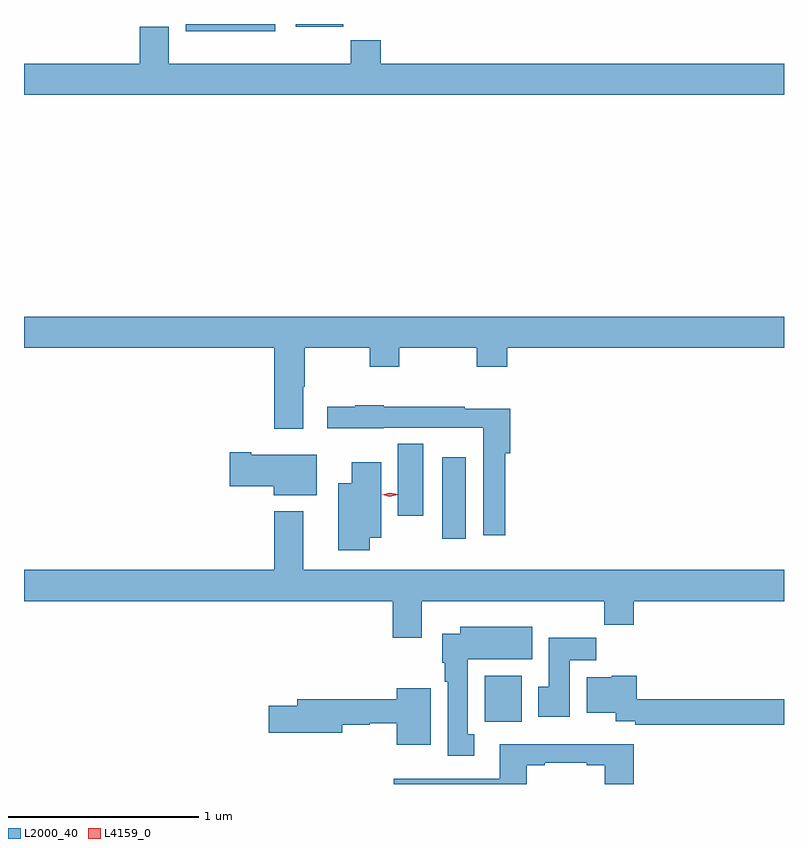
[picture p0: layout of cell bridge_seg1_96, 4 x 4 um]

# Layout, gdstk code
import gdstk
lib = gdstk.Library(unit=1e-6, precision=1e-09)
def R(c, l, rs):  # rectangles x0, y0, x1, y1
    for r in rs: c.add(gdstk.rectangle(r[:2], r[2:], *l))
def P(c, l, *ps):  # polygons
    for p in ps: c.add(gdstk.Polygon(p, *l))
L2000_40 = (2000, 40)
L4159_0 = (4159, 0)

bridge_seg1_96 = lib.new_cell('bridge_seg1_96')
R(bridge_seg1_96, L2000_40, [(312.104,523.124,312.301,523.366), (311.882,524.088,312.004,524.518), (311.648,524.208,311.782,524.588), (310.532,526.76,311.002,526.797), (311.111,526.782,311.36,526.797)])
P(bridge_seg1_96, L2000_40, [(313.68,526.588),(311.558,526.588),(311.558,526.712),(311.401,526.712),(311.401,526.588),(310.441,526.588),(310.441,526.783),(310.289,526.783),(310.289,526.588),(309.68,526.588),(309.68,526.424),(313.68,526.424)],
  [(311.149,524.888),(311.157,524.888),(311.157,525.092),(311.5,525.092),(311.5,524.993),(311.655,524.993),(311.655,525.092),(312.064,525.092),(312.064,524.993),(312.224,524.993),(312.224,525.092),(313.68,525.092),(313.68,525.256),(309.68,525.256),(309.68,525.092),(310.997,525.092),(310.997,524.667),(311.149,524.667)],
  [(312.212,524.537),(312.239,524.537),(312.239,524.772),(311.999,524.772),(311.999,524.782),(311.574,524.782),(311.574,524.791),(311.424,524.791),(311.424,524.782),(311.277,524.782),(311.277,524.669),(311.574,524.669),(311.574,524.673),(311.886,524.673),(311.886,524.672),(312.096,524.672),(312.096,524.106),(312.212,524.106)],
  [(311.221,524.53),(310.876,524.53),(310.876,524.543),(310.764,524.543),(310.764,524.365),(310.994,524.365),(310.994,524.318),(311.221,524.318)],
  [(311.499,524.093),(311.56,524.093),(311.56,524.491),(311.405,524.491),(311.405,524.38),(311.333,524.38),(311.333,524.028),(311.499,524.028)],
  [(311.773,523.76),(312.733,523.76),(312.733,523.636),(312.89,523.636),(312.89,523.76),(313.68,523.76),(313.68,523.924),(311.149,523.924),(311.149,524.233),(310.997,524.233),(310.997,523.924),(309.68,523.924),(309.68,523.76),(311.621,523.76),(311.621,523.566),(311.773,523.566)],
  [(312.049,523.058),(312.016,523.058),(312.016,523.454),(312.355,523.454),(312.355,523.624),(311.975,523.624),(311.975,523.588),(311.882,523.588),(311.882,523.434),(311.894,523.434),(311.894,523.334),(311.909,523.334),(311.909,522.945),(312.049,522.945)],
  [(312.553,523.448),(312.692,523.448),(312.692,523.566),(312.443,523.566),(312.443,523.308),(312.386,523.308),(312.386,523.152),(312.553,523.152)],
  [(313.68,523.244),(312.904,523.244),(312.904,523.366),(312.774,523.366),(312.774,523.36),(312.641,523.36),(312.641,523.172),(312.795,523.172),(312.795,523.128),(312.898,523.128),(312.898,523.108),(313.68,523.108)],
  [(311.821,523.3),(311.642,523.3),(311.642,523.244),(311.117,523.244),(311.117,523.208),(310.968,523.208),(310.968,523.066),(311.356,523.066),(311.356,523.108),(311.499,523.108),(311.499,523.116),(311.642,523.116),(311.642,523.004),(311.821,523.004)],
  [(312.325,522.897),(312.421,522.897),(312.421,522.909),(312.641,522.909),(312.641,522.897),(312.737,522.897),(312.737,522.797),(312.89,522.797),(312.89,523.006),(312.185,523.006),(312.185,522.825),(311.625,522.825),(311.625,522.797),(312.325,522.797)])
P(bridge_seg1_96, L4159_0, [(311.606,524.31),(311.565,524.319),(311.565,524.319),(311.565,524.32),(311.606,524.33),(311.647,524.321),(311.647,524.321),(311.647,524.32)])

lib.write_gds('bridge_seg1_96.gds')
